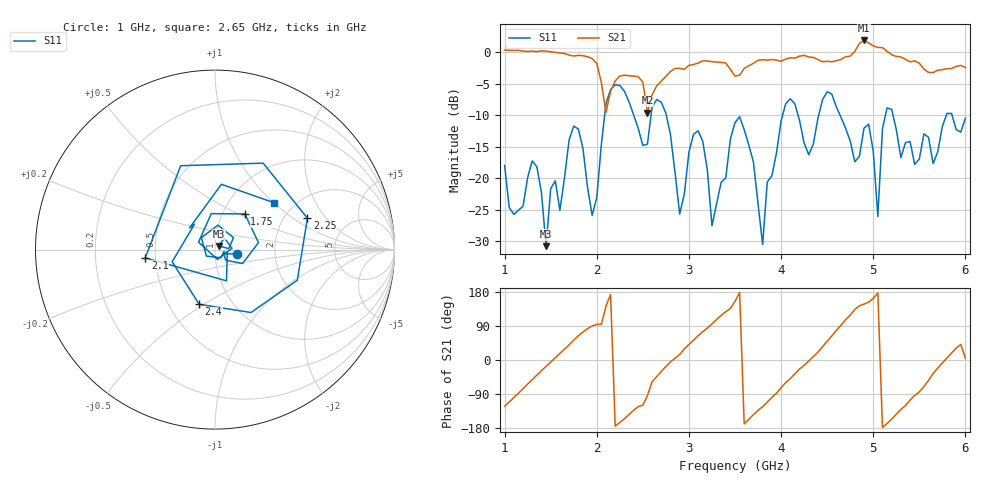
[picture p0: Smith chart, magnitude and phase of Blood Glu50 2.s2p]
! NanoVNA-App
! Date: 2024-03-20 20:04:08
! Start: 1GHz Stop: 6GHz Points: 101
! S-Parameter data: F S11 S21 S12 S22
# Hz S RI R 50
!  Frequency  S11_Real  S11_Imag  S21_Real  S21_Imag  S12_Real  S12_Imag  S22_Real  S22_Imag
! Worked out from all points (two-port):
!   101 points, 1 GHz to 6 GHz, reference 50 ohm
!   highest |S21| = 1.85 dB at 4.9 GHz (marker M1); lowest = -9.6 dB at 2.55 GHz (marker M2)
!   |S21| within 3 dB of the highest: start of sweep to 1.957 GHz; 4.652 GHz to 5.35 GHz (698.3 MHz wide, 14 % of centre)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
!   lowest |S11| = -30.8 dB at 1.45 GHz (marker M3), VSWR 1.06, Z = 52 + j2.18 ohm
!   |S11| at or under -10 dB: start of sweep to 2.086 GHz; 2.754 GHz to 4.017 GHz (1.263 GHz wide, 37.3 % of centre); 5.215 GHz to 5.793 GHz (578.9 MHz wide, 10.5 % of centre)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
!   S12 and S22 are empty: the file has one direction only
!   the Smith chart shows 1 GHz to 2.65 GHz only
!   S11 on the Smith chart (normalised r, x): 1 GHz: 1.28, -0.06; 1.75 GHz: 1.27, +0.54; 2.1 GHz: 0.44, -0.05; 2.25 GHz: 2.65, +1.32; 2.4 GHz: 0.70, -0.48; 2.65 GHz: 1.60, +1.01
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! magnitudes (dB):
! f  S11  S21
! 1 GHz  -18.0  0.3
! 1.45 GHz  -30.8  0.2
! 1.75 GHz  -11.7  -0.6
! 1.85 GHz  -15.3  -0.6
! 1.95 GHz  -25.9  -1.0
! 2.1 GHz  -8.1  -9.6
! 2.25 GHz  -5.3  -3.8
! 2.4 GHz  -10.0  -3.8
! 2.55 GHz  -14.6  -9.6
! 2.65 GHz  -7.5  -5.4
! 2.7 GHz  -7.9  -4.6
! 2.9 GHz  -25.7  -2.6
! 3.1 GHz  -12.5  -1.7
! 3.25 GHz  -27.6  -1.5
! 3.5 GHz  -11.2  -3.8
! 3.8 GHz  -30.5  -1.2
! 4.05 GHz  -8.2  -1.1
! 4.35 GHz  -14.6  -0.8
! 4.9 GHz  -12.1  1.9
! 5.05 GHz  -26.1  0.7
! 5.2 GHz  -9.1  -0.4
! 6 GHz  -10.5  -2.4
